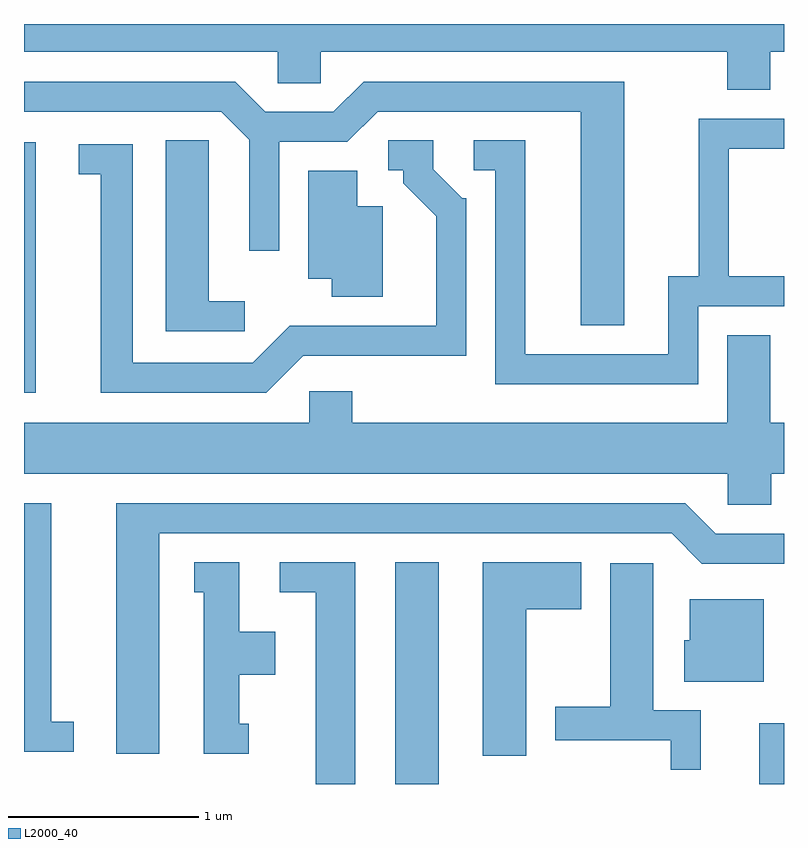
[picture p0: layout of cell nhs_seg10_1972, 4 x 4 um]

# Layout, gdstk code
import gdstk
lib = gdstk.Library(unit=1e-6, precision=1e-09)
def R(c, l, rs):  # rectangles x0, y0, x1, y1
    for r in rs: c.add(gdstk.rectangle(r[:2], r[2:], *l))
def P(c, l, *ps):  # polygons
    for p in ps: c.add(gdstk.Polygon(p, *l))
L2000_40 = (2000, 40)

nhs_seg10_1972 = lib.new_cell('nhs_seg10_1972')
R(nhs_seg10_1972, L2000_40, [(245.566,2094.522,245.794,2095.689), (247.481,2094.522,247.611,2094.843), (243.611,2096.581,243.674,2097.899)])
P(nhs_seg10_1972, L2000_40, [(247.539,2098.376),(247.611,2098.376),(247.611,2098.522),(243.611,2098.522),(243.611,2098.376),(244.946,2098.376),(244.946,2098.211),(245.174,2098.211),(245.174,2098.376),(247.311,2098.376),(247.311,2098.176),(247.539,2098.176)],
  [(246.769,2098.219),(245.399,2098.219),(245.239,2098.059),(244.882,2098.059),(244.722,2098.219),(243.611,2098.219),(243.611,2098.061),(244.649,2098.061),(244.796,2097.914),(244.796,2097.328),(244.954,2097.328),(244.954,2097.901),(245.312,2097.901),(245.472,2098.061),(246.541,2098.061),(246.541,2096.936),(246.769,2096.936)],
  [(247.159,2097.036),(247.611,2097.036),(247.611,2097.194),(247.319,2097.194),(247.319,2097.866),(247.611,2097.866),(247.611,2098.024),(247.161,2098.024),(247.161,2097.194),(247.001,2097.194),(247.001,2096.784),(246.249,2096.784),(246.249,2097.909),(245.978,2097.909),(245.978,2097.751),(246.091,2097.751),(246.091,2096.626),(247.159,2096.626)],
  [(244.773,2097.064),(244.584,2097.064),(244.584,2097.909),(244.356,2097.909),(244.356,2096.906),(244.773,2096.906)],
  [(245.082,2096.776),(245.939,2096.776),(245.939,2097.604),(245.917,2097.604),(245.764,2097.757),(245.764,2097.909),(245.528,2097.909),(245.528,2097.751),(245.606,2097.751),(245.606,2097.684),(245.781,2097.509),(245.781,2096.934),(245.009,2096.934),(244.814,2096.739),(244.184,2096.739),(244.184,2097.889),(243.898,2097.889),(243.898,2097.731),(244.016,2097.731),(244.016,2096.581),(244.887,2096.581)],
  [(245.499,2097.564),(245.364,2097.564),(245.364,2097.749),(245.106,2097.749),(245.106,2097.181),(245.231,2097.181),(245.231,2097.086),(245.499,2097.086)],
  [(247.544,2096.156),(247.611,2096.156),(247.611,2096.424),(247.539,2096.424),(247.539,2096.884),(247.311,2096.884),(247.311,2096.424),(245.339,2096.424),(245.339,2096.589),(245.111,2096.589),(245.111,2096.424),(243.611,2096.424),(243.611,2096.156),(247.316,2096.156),(247.316,2095.991),(247.544,2095.991)],
  [(244.324,2095.841),(247.019,2095.841),(247.179,2095.681),(247.611,2095.681),(247.611,2095.839),(247.252,2095.839),(247.092,2095.999),(244.096,2095.999),(244.096,2094.681),(244.324,2094.681)],
  [(243.873,2094.849),(243.754,2094.849),(243.754,2095.999),(243.611,2095.999),(243.611,2094.691),(243.873,2094.691)],
  [(244.793,2094.839),(244.744,2094.839),(244.744,2095.096),(244.934,2095.096),(244.934,2095.324),(244.744,2095.324),(244.744,2095.689),(244.508,2095.689),(244.508,2095.531),(244.556,2095.531),(244.556,2094.681),(244.793,2094.681)],
  [(246.254,2095.441),(246.544,2095.441),(246.544,2095.689),(246.026,2095.689),(246.026,2094.671),(246.254,2094.671)],
  [(245.354,2095.689),(244.958,2095.689),(244.958,2095.531),(245.146,2095.531),(245.146,2094.522),(245.354,2094.522)],
  [(247.174,2094.909),(246.924,2094.909),(246.924,2095.684),(246.696,2095.684),(246.696,2094.929),(246.406,2094.929),(246.406,2094.751),(247.016,2094.751),(247.016,2094.597),(247.174,2094.597)],
  [(247.504,2095.494),(247.116,2095.494),(247.116,2095.279),(247.086,2095.279),(247.086,2095.061),(247.504,2095.061)])

lib.write_gds('nhs_seg10_1972.gds')
